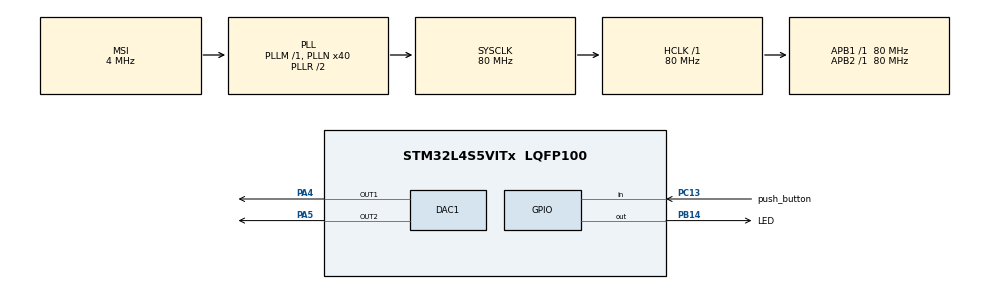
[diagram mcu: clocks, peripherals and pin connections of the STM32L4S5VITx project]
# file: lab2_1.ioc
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DAC1.DAC_Channel-DAC_OUT2=DAC_CHANNEL_2
Mcu.Family=STM32L4
Mcu.Name=STM32L4S5VITx
Mcu.Package=LQFP100
NVIC.PriorityGroup=NVIC_PRIORITYGROUP_4
PA13\ (JTMS/SWDIO).Signal=SYS_JTMS-SWDIO
PA4.Signal=COMP_DAC11_group
PA5.Signal=COMP_DAC12_group
PB14.GPIO_Label=LED
PB14.Signal=GPIO_Output
PB3\ (JTDO/TRACESWO).Signal=SYS_JTDO-SWO
PC13.GPIO_Label=push_button
PC13.Signal=GPIO_Input
ProjectManager.HeapSize=0x200
ProjectManager.StackSize=0x400
ProjectManager.TargetToolchain=STM32CubeIDE
RCC.ADCFreq_Value=48000000
RCC.AHBFreq_Value=80000000
RCC.APB1Freq_Value=80000000
RCC.APB1TimFreq_Value=80000000
RCC.APB2Freq_Value=80000000
RCC.APB2TimFreq_Value=80000000
RCC.CortexFreq_Value=80000000
RCC.HCLKFreq_Value=80000000
RCC.HSE_VALUE=8000000
RCC.HSI48_VALUE=48000000
RCC.HSI_VALUE=16000000
RCC.MSI_VALUE=4000000
RCC.PLLN=40
RCC.PLLSAI1N=24
RCC.SYSCLKFreq_VALUE=80000000
RCC.SYSCLKSource=RCC_SYSCLKSOURCE_PLLCLK
RCC.USBFreq_Value=48000000
RCC.VCOOutputFreq_Value=160000000
SH.COMP_DAC11_group.0=DAC1_OUT1,DAC_OUT1
SH.COMP_DAC12_group.0=DAC1_OUT2,DAC_OUT2
board=B-L4S5I-IOT01A

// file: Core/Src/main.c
/* USER CODE BEGIN Header */
/**
  ******************************************************************************
  * @file           : main.c
  * @brief          : Main program body
  ******************************************************************************
  * @attention
  *
  * Copyright (c) 2022 STMicroelectronics.
  * All rights reserved.
  *
  * This software is licensed under terms that can be found in the LICENSE file
  * in the root directory of this software component.
  * If no LICENSE file comes with this software, it is provided AS-IS.
  *
  ******************************************************************************
  */
/* USER CODE END Header */
#include "main.h"

/* USER CODE BEGIN Includes */
#define ARM_MATH_CM4
#include "arm_math.h"

/* USER CODE END Includes */

DAC_HandleTypeDef hdac1;

void SystemClock_Config(void);
static void MX_GPIO_Init(void);
static void MX_DAC1_Init(void);

int main(void)
{

  /* MCU Configuration--------------------------------------------------------*/

  /* Reset of all peripherals, Initializes the Flash interface and the Systick. */
  HAL_Init();

  /* Configure the system clock */
  SystemClock_Config();

  /* Initialize all configured peripherals */
  MX_GPIO_Init();
  MX_DAC1_Init();
  /* USER CODE BEGIN 2 */
	HAL_DAC_Start(&hdac1, DAC_CHANNEL_1);
	HAL_DAC_Start(&hdac1, DAC_CHANNEL_2);
	uint8_t saw = 0;
	uint8_t triangle = 0;
	uint32_t sine =0;
	char status = 0;
	int counterMax = 16;
	int counter = 0;

  /* USER CODE END 2 */

  /* Infinite loop */
  /* USER CODE BEGIN WHILE */
  while (1)
  {
	    //LED
	    status = HAL_GPIO_ReadPin(push_button_GPIO_Port, push_button_Pin);
	  	if (status == 0)
	  	  HAL_GPIO_WritePin(LED_GPIO_Port, LED_Pin, GPIO_PIN_SET);
	    else
	  	  HAL_GPIO_WritePin(LED_GPIO_Port, LED_Pin, GPIO_PIN_RESET);

	  	// Part2
		if (counter < 8){
			triangle = (counter+1)*20;
		}else{
			triangle = 300 - counter*20;
		}

		saw = counter*14;

		//sine
		sine =  100 * arm_sin_f32(2*PI*counter/counterMax) + 100;

		HAL_DAC_SetValue(&hdac1, DAC_CHANNEL_1, DAC_ALIGN_8B_R,sine);
		HAL_DAC_SetValue(&hdac1, DAC_CHANNEL_2, DAC_ALIGN_8B_R, saw);
		counter = (counter + 1) % counterMax;
		HAL_Delay(0.5);

    /* USER CODE END WHILE */

  }
}

void SystemClock_Config(void)
{
  RCC_OscInitTypeDef RCC_OscInitStruct = {0};
  RCC_ClkInitTypeDef RCC_ClkInitStruct = {0};

  /** Configure the main internal regulator output voltage
  */
  if (HAL_PWREx_ControlVoltageScaling(PWR_REGULATOR_VOLTAGE_SCALE1) != HAL_OK)
  {
    Error_Handler();
  }

  /** Initializes the RCC Oscillators according to the specified parameters
  * in the RCC_OscInitTypeDef structure.
  */
  RCC_OscInitStruct.OscillatorType = RCC_OSCILLATORTYPE_MSI;
  RCC_OscInitStruct.MSIState = RCC_MSI_ON;
  RCC_OscInitStruct.MSICalibrationValue = 0;
  RCC_OscInitStruct.MSIClockRange = RCC_MSIRANGE_6;
  RCC_OscInitStruct.PLL.PLLState = RCC_PLL_ON;
  RCC_OscInitStruct.PLL.PLLSource = RCC_PLLSOURCE_MSI;
  RCC_OscInitStruct.PLL.PLLM = 1;
  RCC_OscInitStruct.PLL.PLLN = 40;
  RCC_OscInitStruct.PLL.PLLP = RCC_PLLP_DIV2;
  RCC_OscInitStruct.PLL.PLLQ = RCC_PLLQ_DIV2;
  RCC_OscInitStruct.PLL.PLLR = RCC_PLLR_DIV2;
  if (HAL_RCC_OscConfig(&RCC_OscInitStruct) != HAL_OK)
  {
    Error_Handler();
  }

  /** Initializes the CPU, AHB and APB buses clocks
  */
  RCC_ClkInitStruct.ClockType = RCC_CLOCKTYPE_HCLK|RCC_CLOCKTYPE_SYSCLK
                              |RCC_CLOCKTYPE_PCLK1|RCC_CLOCKTYPE_PCLK2;
  RCC_ClkInitStruct.SYSCLKSource = RCC_SYSCLKSOURCE_PLLCLK;
  RCC_ClkInitStruct.AHBCLKDivider = RCC_SYSCLK_DIV1;
  RCC_ClkInitStruct.APB1CLKDivider = RCC_HCLK_DIV1;
  RCC_ClkInitStruct.APB2CLKDivider = RCC_HCLK_DIV1;

  if (HAL_RCC_ClockConfig(&RCC_ClkInitStruct, FLASH_LATENCY_3) != HAL_OK)
  {
    Error_Handler();
  }
}

static void MX_DAC1_Init(void)
{

  DAC_ChannelConfTypeDef sConfig = {0};

  /** DAC Initialization
  */
  hdac1.Instance = DAC1;
  if (HAL_DAC_Init(&hdac1) != HAL_OK)
  {
    Error_Handler();
  }

  /** DAC channel OUT1 config
  */
  sConfig.DAC_SampleAndHold = DAC_SAMPLEANDHOLD_DISABLE;
  sConfig.DAC_Trigger = DAC_TRIGGER_NONE;
  sConfig.DAC_HighFrequency = DAC_HIGH_FREQUENCY_INTERFACE_MODE_ABOVE_80MHZ;
  sConfig.DAC_OutputBuffer = DAC_OUTPUTBUFFER_ENABLE;
  sConfig.DAC_ConnectOnChipPeripheral = DAC_CHIPCONNECT_DISABLE;
  sConfig.DAC_UserTrimming = DAC_TRIMMING_FACTORY;
  if (HAL_DAC_ConfigChannel(&hdac1, &sConfig, DAC_CHANNEL_1) != HAL_OK)
  {
    Error_Handler();
  }

  /** DAC channel OUT2 config
  */
  if (HAL_DAC_ConfigChannel(&hdac1, &sConfig, DAC_CHANNEL_2) != HAL_OK)
  {
    Error_Handler();
  }

}

static void MX_GPIO_Init(void)
{
  GPIO_InitTypeDef GPIO_InitStruct = {0};

  /* GPIO Ports Clock Enable */
  __HAL_RCC_GPIOC_CLK_ENABLE();
  __HAL_RCC_GPIOA_CLK_ENABLE();
  __HAL_RCC_GPIOB_CLK_ENABLE();

  /*Configure GPIO pin Output Level */
  HAL_GPIO_WritePin(LED_GPIO_Port, LED_Pin, GPIO_PIN_RESET);

  /*Configure GPIO pin : push_button_Pin */
  GPIO_InitStruct.Pin = push_button_Pin;
  GPIO_InitStruct.Mode = GPIO_MODE_INPUT;
  GPIO_InitStruct.Pull = GPIO_NOPULL;
  HAL_GPIO_Init(push_button_GPIO_Port, &GPIO_InitStruct);

  /*Configure GPIO pin : LED_Pin */
  GPIO_InitStruct.Pin = LED_Pin;
  GPIO_InitStruct.Mode = GPIO_MODE_OUTPUT_PP;
  GPIO_InitStruct.Pull = GPIO_NOPULL;
  GPIO_InitStruct.Speed = GPIO_SPEED_FREQ_LOW;
  HAL_GPIO_Init(LED_GPIO_Port, &GPIO_InitStruct);

}

void Error_Handler(void)
{
  __disable_irq();
  while (1)
  {
  }
}
